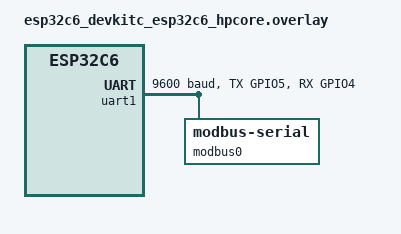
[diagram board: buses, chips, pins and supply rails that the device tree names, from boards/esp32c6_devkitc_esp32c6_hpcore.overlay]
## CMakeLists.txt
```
# SPDX-License-Identifier: Apache-2.0
cmake_minimum_required(VERSION 3.20.0)

find_package(Zephyr REQUIRED HINTS $ENV{ZEPHYR_BASE})
project(modbus_rtu_server)

target_sources(app PRIVATE src/main.c)
```

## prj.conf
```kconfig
# UART til HW-519 (interrupt-drevet, krævet af Zephyrs Modbus-stak)
CONFIG_SERIAL=y
CONFIG_UART_INTERRUPT_DRIVEN=y

# Modbus RTU, ESP32-C6 er server (slave)
CONFIG_MODBUS=y
CONFIG_MODBUS_ROLE_SERVER=y
CONFIG_MODBUS_BUFFER_SIZE=256

CONFIG_GPIO=y
CONFIG_LOG=y
```

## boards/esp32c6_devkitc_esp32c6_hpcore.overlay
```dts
/*
 * HW-519 TTL<->RS485 på UART1.
 *
 *   ESP32-C6 GPIO5 (TX) -> HW-519 TXD
 *   ESP32-C6 GPIO4 (RX) <- HW-519 RXD
 *   3V3 -> VCC, GND -> GND   (brug 3.3 V – ESP32-C6 er ikke 5 V-tolerant)
 *
 * HW-519 styrer selv sende/modtage-retningen (auto flow control),
 * så der er ingen DE/RE-pin og derfor ingen de-gpios herunder.
 */
#include <zephyr/dt-bindings/pinctrl/esp32c6-pinctrl.h>

&pinctrl {
	uart1_modbus: uart1_modbus {
		group1 {
			pinmux = <UART1_TX_GPIO5>;
			output-high;
		};
		group2 {
			pinmux = <UART1_RX_GPIO4>;
			bias-pull-up;
		};
	};
};

&uart1 {
	status = "okay";
	current-speed = <9600>;
	pinctrl-0 = <&uart1_modbus>;
	pinctrl-names = "default";

	modbus0 {
		compatible = "zephyr,modbus-serial";
		status = "okay";
	};
};
```

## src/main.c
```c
/*
 * Modbus RTU server (slave) på ESP32-C6 via HW-519 TTL<->RS485.
 *
 * Registerkort (unit id 1):
 *   Coils           0     : "LED"/aktuator (læs/skriv)
 *   Input registers 0     : uptime i sekunder (low 16 bit)
 *                   1     : simuleret temperatur, 0.1 °C (fx 231 = 23.1 °C)
 *                   2     : antal håndterede Modbus-forespørgsler
 *   Holding regs    0..7  : frie parametre (fx setpunkt), læs/skriv
 */

#include <zephyr/kernel.h>
#include <zephyr/device.h>
#include <zephyr/drivers/gpio.h>
#include <zephyr/modbus/modbus.h>
#include <zephyr/logging/log.h>

LOG_MODULE_REGISTER(mbs, LOG_LEVEL_INF);

#define UNIT_ID        1
#define NUM_COILS      1
#define NUM_INPUT_REGS 3
#define NUM_HOLD_REGS  8

static bool coils[NUM_COILS];
static uint16_t holding_reg[NUM_HOLD_REGS];
static atomic_t request_count;

#if DT_NODE_HAS_STATUS(DT_ALIAS(led0), okay)
static const struct gpio_dt_spec led = GPIO_DT_SPEC_GET(DT_ALIAS(led0), gpios);
#define HAS_LED 1
#endif

static uint16_t simulated_temp(void)
{
	/* Savtak mellem 20.0 og 25.0 °C, så værdien ændrer sig synligt */
	return 200 + (k_uptime_get() / 1000) % 50;
}

static int coil_rd(uint16_t addr, bool *state)
{
	atomic_inc(&request_count);
	if (addr >= NUM_COILS) {
		return -ENOTSUP;
	}
	*state = coils[addr];
	return 0;
}

static int coil_wr(uint16_t addr, bool state)
{
	atomic_inc(&request_count);
	if (addr >= NUM_COILS) {
		return -ENOTSUP;
	}
	coils[addr] = state;
#ifdef HAS_LED
	gpio_pin_set_dt(&led, state);
#endif
	LOG_INF("Coil %u <- %s", addr, state ? "ON" : "OFF");
	return 0;
}

static int input_reg_rd(uint16_t addr, uint16_t *reg)
{
	atomic_inc(&request_count);
	switch (addr) {
	case 0:
		*reg = (uint16_t)(k_uptime_get() / 1000);
		return 0;
	case 1:
		*reg = simulated_temp();
		return 0;
	case 2:
		*reg = (uint16_t)atomic_get(&request_count);
		return 0;
	default:
		return -ENOTSUP;
	}
}

static int holding_reg_rd(uint16_t addr, uint16_t *reg)
{
	atomic_inc(&request_count);
	if (addr >= NUM_HOLD_REGS) {
		return -ENOTSUP;
	}
	*reg = holding_reg[addr];
	return 0;
}

static int holding_reg_wr(uint16_t addr, uint16_t reg)
{
	atomic_inc(&request_count);
	if (addr >= NUM_HOLD_REGS) {
		return -ENOTSUP;
	}
	holding_reg[addr] = reg;
	LOG_INF("Holding reg %u <- %u", addr, reg);
	return 0;
}

static struct modbus_user_callbacks mbs_cbs = {
	.coil_rd = coil_rd,
	.coil_wr = coil_wr,
	.input_reg_rd = input_reg_rd,
	.holding_reg_rd = holding_reg_rd,
	.holding_reg_wr = holding_reg_wr,
};

static const struct modbus_iface_param server_param = {
	.mode = MODBUS_MODE_RTU,
	.server = {
		.user_cb = &mbs_cbs,
		.unit_id = UNIT_ID,
	},
	.serial = {
		.baud = 9600,
		.parity = UART_CFG_PARITY_NONE,
	},
};

#define MODBUS_NODE DT_COMPAT_GET_ANY_STATUS_OKAY(zephyr_modbus_serial)

int main(void)
{
	const char iface_name[] = {DEVICE_DT_NAME(MODBUS_NODE)};
	int iface = modbus_iface_get_by_name(iface_name);
	int err;

#ifdef HAS_LED
	if (gpio_is_ready_dt(&led)) {
		gpio_pin_configure_dt(&led, GPIO_OUTPUT_INACTIVE);
	}
#endif

	if (iface < 0) {
		LOG_ERR("Modbus-interface '%s' ikke fundet (%d)", iface_name, iface);
		return 0;
	}

	err = modbus_init_server(iface, server_param);
	if (err) {
		LOG_ERR("modbus_init_server fejlede (%d)", err);
		return 0;
	}

	LOG_INF("Modbus RTU server klar: unit %d, 9600 8N1 på %s", UNIT_ID, iface_name);
	return 0;
}
```
